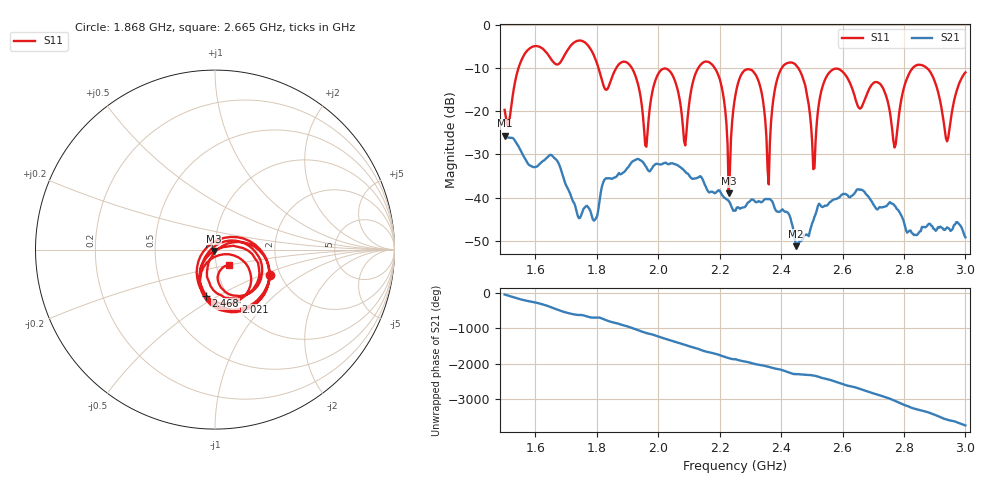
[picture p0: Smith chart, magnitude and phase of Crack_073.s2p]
# HZ S RI R 50
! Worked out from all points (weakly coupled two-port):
!   404 points, 1.5 GHz to 3 GHz, reference 50 ohm
!   highest |S21| = -25.68 dB at 1.5 GHz (marker M1); lowest = -51.3 dB at 2.449 GHz (marker M2)
!   lowest |S11| = -39.0 dB at 2.23 GHz (marker M3), VSWR 1.02, Z = 49.2 - j0.805 ohm
!   |S11| at or under -10 dB: 1.915 GHz to 2.13 GHz (215.7 MHz wide, 10.7 % of centre); 2.184 GHz to 2.402 GHz (217.5 MHz wide, 9.48 % of centre); 2.457 GHz to 2.828 GHz (371.6 MHz wide, 14.1 % of centre) (the widest 3 of 6)
!   S12 and S22 are empty: the file has one direction only
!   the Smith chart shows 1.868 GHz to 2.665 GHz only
!   S11 on the Smith chart (normalised r, x): 1.868 GHz: 1.78, -0.57; 2.021 GHz: 1.04, -0.67; 2.468 GHz: 0.80, -0.44; 2.665 GHz: 1.15, -0.20
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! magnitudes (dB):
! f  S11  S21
! 1.5 GHz  -19.7  -25.7
! 1.753 GHz  -3.7  -43.3
! 1.868 GHz  -9.4  -34.7
! 1.962 GHz  -28.2  -32.9
! 2.002 GHz  -11.0  -32.3
! 2.021 GHz  -10.1  -32.0
! 2.088 GHz  -27.9  -34.0
! 2.181 GHz  -9.7  -38.9
! 2.23 GHz  -39.0  -40.8
! 2.252 GHz  -16.0  -43.0
! 2.315 GHz  -11.3  -40.9
! 2.36 GHz  -36.9  -40.4
! 2.39 GHz  -12.0  -43.3
! 2.449 GHz  -9.4  -51.3
! 2.468 GHz  -11.6  -49.9
! 2.501 GHz  -27.2  -45.9
! 2.565 GHz  -10.5  -40.8
! 2.665 GHz  -18.6  -38.3
! 2.751 GHz  -18.8  -41.3
! 2.862 GHz  -9.4  -46.8
! 2.94 GHz  -27.0  -46.9
! 3 GHz  -11.0  -49.2
